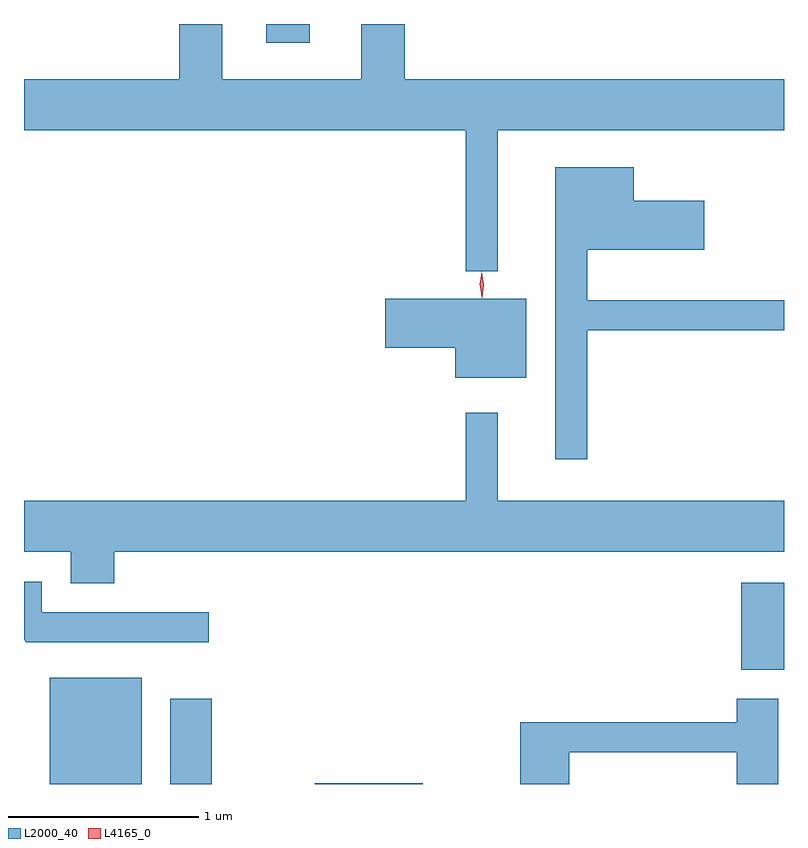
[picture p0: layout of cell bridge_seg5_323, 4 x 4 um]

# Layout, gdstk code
import gdstk
lib = gdstk.Library(unit=1e-6, precision=1e-09)
def R(c, l, rs):  # rectangles x0, y0, x1, y1
    for r in rs: c.add(gdstk.rectangle(r[:2], r[2:], *l))
def P(c, l, *ps):  # polygons
    for p in ps: c.add(gdstk.Polygon(p, *l))
L2000_40 = (2000, 40)
L4165_0 = (4165, 0)

bridge_seg5_323 = lib.new_cell('bridge_seg5_323')
R(bridge_seg5_323, L2000_40, [(727.831,1413.394,728.314,1413.954), (728.466,1413.394,728.684,1413.844), (729.226,1413.394,729.794,1413.399), (731.471,1413.996,731.695,1414.454), (728.971,1417.296,729.199,1417.394)])
P(bridge_seg5_323, L2000_40, [(730.189,1416.836),(731.695,1416.836),(731.695,1417.104),(729.699,1417.104),(729.699,1417.394),(729.471,1417.394),(729.471,1417.104),(728.739,1417.104),(728.739,1417.394),(728.511,1417.394),(728.511,1417.104),(727.695,1417.104),(727.695,1416.836),(730.021,1416.836),(730.021,1416.093),(730.189,1416.093)],
  [(730.659,1415.781),(731.695,1415.781),(731.695,1415.939),(730.659,1415.939),(730.659,1416.206),(731.274,1416.206),(731.274,1416.464),(730.904,1416.464),(730.904,1416.639),(730.491,1416.639),(730.491,1415.103),(730.659,1415.103)],
  [(730.339,1415.949),(729.596,1415.949),(729.596,1415.691),(729.966,1415.691),(729.966,1415.531),(730.339,1415.531)],
  [(728.169,1414.616),(731.695,1414.616),(731.695,1414.884),(730.189,1414.884),(730.189,1415.348),(730.021,1415.348),(730.021,1414.884),(727.695,1414.884),(727.695,1414.616),(727.941,1414.616),(727.941,1414.451),(728.169,1414.451)],
  [(728.668,1414.299),(727.789,1414.299),(727.789,1414.459),(727.695,1414.459),(727.695,1414.153),(727.707,1414.141),(728.668,1414.141)],
  [(730.564,1413.561),(731.446,1413.561),(731.446,1413.394),(731.664,1413.394),(731.664,1413.844),(731.446,1413.844),(731.446,1413.719),(730.306,1413.719),(730.306,1413.394),(730.564,1413.394)])
P(bridge_seg5_323, L4165_0, [(730.103,1415.96),(730.103,1415.96),(730.093,1416.023),(730.103,1416.086),(730.103,1416.087),(730.104,1416.086),(730.113,1416.023),(730.104,1415.96)],
  [(730.105,1415.954),(730.095,1416.022),(730.104,1416.09),(730.105,1416.09),(730.105,1416.09),(730.115,1416.022),(730.106,1415.954),(730.106,1415.954)])

lib.write_gds('bridge_seg5_323.gds')
